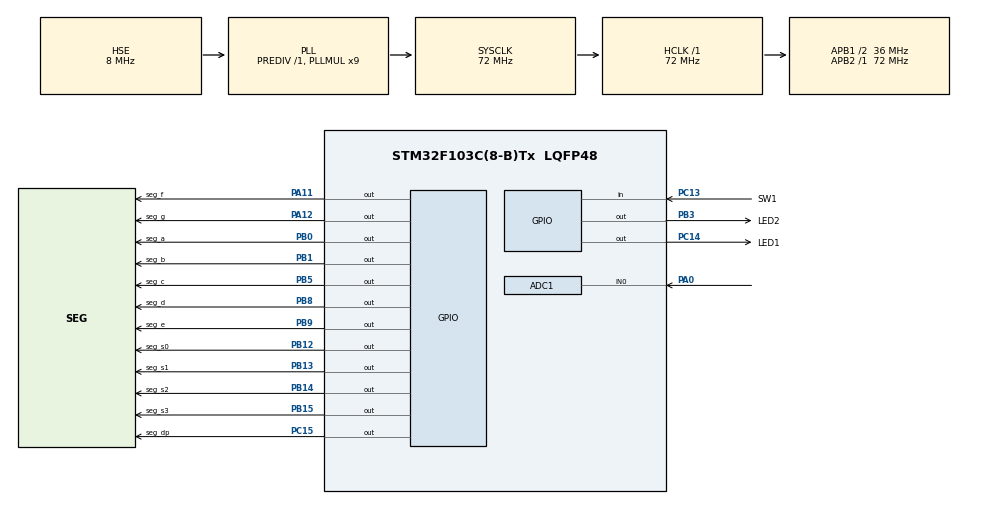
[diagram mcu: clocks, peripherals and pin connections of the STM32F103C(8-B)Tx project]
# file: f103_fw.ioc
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ADC1.Channel-1\#ChannelRegularConversion=ADC_CHANNEL_0
ADC1.NbrOfConversionFlag=1
ADC1.Rank-1\#ChannelRegularConversion=1
ADC1.SamplingTime-1\#ChannelRegularConversion=ADC_SAMPLETIME_55CYCLES_5
ADC1.master=1
Mcu.Family=STM32F1
Mcu.Name=STM32F103C(8-B)Tx
Mcu.Package=LQFP48
NVIC.PriorityGroup=NVIC_PRIORITYGROUP_4
NVIC.TIM2_IRQn=true\:0\:0\:false\:false\:true\:true\:true\:true
PA0-WKUP.Signal=ADCx_IN0
PA11.GPIO_Label=seg_f
PA11.Signal=GPIO_Output
PA12.GPIO_Label=seg_g
PA12.Signal=GPIO_Output
PA13.Mode=Serial_Wire
PA13.Signal=SYS_JTMS-SWDIO
PA14.Mode=Serial_Wire
PA14.Signal=SYS_JTCK-SWCLK
PB0.GPIO_Label=seg_a
PB0.Signal=GPIO_Output
PB1.GPIO_Label=seg_b
PB1.Signal=GPIO_Output
PB12.GPIO_Label=seg_s0
PB12.Signal=GPIO_Output
PB13.GPIO_Label=seg_s1
PB13.Signal=GPIO_Output
PB14.GPIO_Label=seg_s2
PB14.Signal=GPIO_Output
PB15.GPIO_Label=seg_s3
PB15.Signal=GPIO_Output
PB3.GPIO_Label=LED2
PB3.Signal=GPIO_Output
PB5.GPIO_Label=seg_c
PB5.Signal=GPIO_Output
PB8.GPIO_Label=seg_d
PB8.Signal=GPIO_Output
PB9.GPIO_Label=seg_e
PB9.Signal=GPIO_Output
PC13-TAMPER-RTC.GPIO_Label=SW1
PC13-TAMPER-RTC.GPIO_PuPd=GPIO_NOPULL
PC13-TAMPER-RTC.Signal=GPIO_Input
PC14-OSC32_IN.GPIO_Label=LED1
PC14-OSC32_IN.Signal=GPIO_Output
PC15-OSC32_OUT.GPIO_Label=seg_dp
PC15-OSC32_OUT.Signal=GPIO_Output
PD0-OSC_IN.Mode=HSE-External-Oscillator
PD0-OSC_IN.Signal=RCC_OSC_IN
PD1-OSC_OUT.Mode=HSE-External-Oscillator
PD1-OSC_OUT.Signal=RCC_OSC_OUT
ProjectManager.HeapSize=0x200
ProjectManager.StackSize=0x400
ProjectManager.TargetToolchain=STM32CubeIDE
RCC.AHBFreq_Value=72000000
RCC.APB1CLKDivider=RCC_HCLK_DIV2
RCC.APB1Freq_Value=36000000
RCC.APB1TimFreq_Value=72000000
RCC.APB2Freq_Value=72000000
RCC.APB2TimFreq_Value=72000000
RCC.HCLKFreq_Value=72000000
RCC.PLLMUL=RCC_PLL_MUL9
RCC.PLLSourceVirtual=RCC_PLLSOURCE_HSE
RCC.SYSCLKFreq_VALUE=72000000
RCC.SYSCLKSource=RCC_SYSCLKSOURCE_PLLCLK
RCC.USBFreq_Value=48000000
RCC.USBPrescaler=RCC_USBCLKSOURCE_PLL_DIV1_5
SH.ADCx_IN0.0=ADC1_IN0,IN0
TIM2.Period=99
TIM2.Prescaler=7199
VP_TIM2_VS_ClockSourceINT.Mode=Internal
board=custom

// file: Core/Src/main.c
/* USER CODE BEGIN Header */
/**
  ******************************************************************************
  * @file           : main.c
  * @brief          : Main program body
  ******************************************************************************
  * @attention
  *
  * Copyright (c) 2025 STMicroelectronics.
  * All rights reserved.
  *
  * This software is licensed under terms that can be found in the LICENSE file
  * in the root directory of this software component.
  * If no LICENSE file comes with this software, it is provided AS-IS.
  *
  ******************************************************************************
  */
/* USER CODE END Header */
#include "main.h"
#include "adc.h"
#include "tim.h"
#include "gpio.h"

/* USER CODE BEGIN Includes */
#include "7segment.h"
#include "button.h"
/* USER CODE END Includes */

/* USER CODE BEGIN PV */
uint32_t millis(void)
{
  return HAL_GetTick();
}
/* USER CODE END PV */

void SystemClock_Config(void);

/* USER CODE BEGIN 0 */
int count = 0;

/* USER CODE END 0 */

int main(void)
{
  /* USER CODE BEGIN 1 */
  //int num = 0;
  //int mode = 0;
  /* USER CODE END 1 */

  /* MCU Configuration--------------------------------------------------------*/

  /* Reset of all peripherals, Initializes the Flash interface and the Systick. */
  HAL_Init();

  /* Configure the system clock */
  SystemClock_Config();

  /* Initialize all configured peripherals */
  MX_GPIO_Init();
  MX_TIM2_Init();
  MX_ADC1_Init();
  /* USER CODE BEGIN 2 */

   segment_Init();

   HAL_GPIO_WritePin(GPIOC, seg_dp_Pin, GPIO_PIN_SET);
   HAL_TIM_Base_Start_IT(&htim2);
   HAL_ADC_Start(&hadc1);
  /* USER CODE END 2 */

  /* Infinite loop */
  while (1)
  {

    Seg_Display();
  }
}

void SystemClock_Config(void)
{
  RCC_OscInitTypeDef RCC_OscInitStruct = {0};
  RCC_ClkInitTypeDef RCC_ClkInitStruct = {0};
  RCC_PeriphCLKInitTypeDef PeriphClkInit = {0};

  /** Initializes the RCC Oscillators according to the specified parameters
  * in the RCC_OscInitTypeDef structure.
  */
  RCC_OscInitStruct.OscillatorType = RCC_OSCILLATORTYPE_HSE;
  RCC_OscInitStruct.HSEState = RCC_HSE_ON;
  RCC_OscInitStruct.HSEPredivValue = RCC_HSE_PREDIV_DIV1;
  RCC_OscInitStruct.HSIState = RCC_HSI_ON;
  RCC_OscInitStruct.PLL.PLLState = RCC_PLL_ON;
  RCC_OscInitStruct.PLL.PLLSource = RCC_PLLSOURCE_HSE;
  RCC_OscInitStruct.PLL.PLLMUL = RCC_PLL_MUL9;
  if (HAL_RCC_OscConfig(&RCC_OscInitStruct) != HAL_OK)
  {
    Error_Handler();
  }

  /** Initializes the CPU, AHB and APB buses clocks
  */
  RCC_ClkInitStruct.ClockType = RCC_CLOCKTYPE_HCLK|RCC_CLOCKTYPE_SYSCLK
                              |RCC_CLOCKTYPE_PCLK1|RCC_CLOCKTYPE_PCLK2;
  RCC_ClkInitStruct.SYSCLKSource = RCC_SYSCLKSOURCE_PLLCLK;
  RCC_ClkInitStruct.AHBCLKDivider = RCC_SYSCLK_DIV1;
  RCC_ClkInitStruct.APB1CLKDivider = RCC_HCLK_DIV2;
  RCC_ClkInitStruct.APB2CLKDivider = RCC_HCLK_DIV1;

  if (HAL_RCC_ClockConfig(&RCC_ClkInitStruct, FLASH_LATENCY_2) != HAL_OK)
  {
    Error_Handler();
  }
  PeriphClkInit.PeriphClockSelection = RCC_PERIPHCLK_ADC;
  PeriphClkInit.AdcClockSelection = RCC_ADCPCLK2_DIV2;
  if (HAL_RCCEx_PeriphCLKConfig(&PeriphClkInit) != HAL_OK)
  {
    Error_Handler();
  }
}

/* USER CODE BEGIN 4 */
void HAL_TIM_PeriodElapsedCallback(TIM_HandleTypeDef *htim){

      int adc = 0;
      HAL_ADC_Start(&hadc1);

      // 변환 완료 시간은 최대 10ms
      if (HAL_ADC_PollForConversion(&hadc1, 10) == HAL_OK)
      {
        adc = HAL_ADC_GetValue(&hadc1);  // 0~4095
      }
      HAL_ADC_Stop(&hadc1);
      Num_Calculator(adc);
    }

/* USER CODE END 4 */

void Error_Handler(void)
{
  __disable_irq();
  while (1)
  {
  }
}
